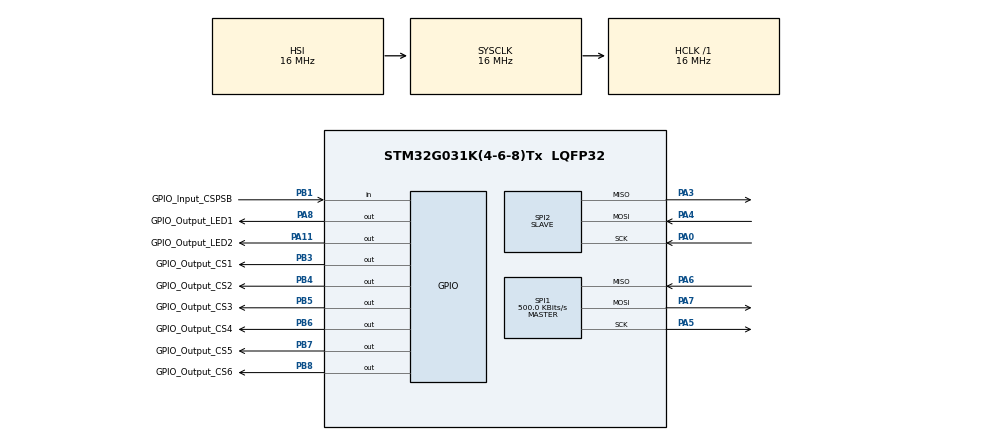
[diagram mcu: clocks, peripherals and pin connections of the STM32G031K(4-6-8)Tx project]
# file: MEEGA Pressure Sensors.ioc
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Mcu.Family=STM32G0
Mcu.Name=STM32G031K(4-6-8)Tx
Mcu.Package=LQFP32
PA0.Mode=Full_Duplex_Slave
PA0.Signal=SPI2_SCK
PA11\ [PA9].GPIO_Label=GPIO_Output_LED2
PA11\ [PA9].Signal=GPIO_Output
PA13.Mode=Serial_Wire
PA13.Signal=SYS_SWDIO
PA14-BOOT0.Mode=Serial_Wire
PA14-BOOT0.Signal=SYS_SWCLK
PA3.Mode=Full_Duplex_Slave
PA3.Signal=SPI2_MISO
PA4.Mode=Full_Duplex_Slave
PA4.Signal=SPI2_MOSI
PA5.Mode=Full_Duplex_Master
PA5.Signal=SPI1_SCK
PA6.Mode=Full_Duplex_Master
PA6.Signal=SPI1_MISO
PA7.Mode=Full_Duplex_Master
PA7.Signal=SPI1_MOSI
PA8.GPIO_Label=GPIO_Output_LED1
PA8.Signal=GPIO_Output
PB1.GPIO_Label=GPIO_Input_CSPSB
PB1.GPIO_PuPd=GPIO_PULLUP
PB1.Signal=GPIO_Input
PB3.GPIO_Label=GPIO_Output_CS1
PB3.GPIO_PuPd=GPIO_PULLUP
PB3.Signal=GPIO_Output
PB4.GPIO_Label=GPIO_Output_CS2
PB4.GPIO_PuPd=GPIO_PULLUP
PB4.Signal=GPIO_Output
PB5.GPIO_Label=GPIO_Output_CS3
PB5.GPIO_PuPd=GPIO_PULLUP
PB5.Signal=GPIO_Output
PB6.GPIO_Label=GPIO_Output_CS4
PB6.GPIO_PuPd=GPIO_PULLUP
PB6.Signal=GPIO_Output
PB7.GPIO_Label=GPIO_Output_CS5
PB7.GPIO_PuPd=GPIO_PULLUP
PB7.Signal=GPIO_Output
PB8.GPIO_Label=GPIO_Output_CS6
PB8.GPIO_PuPd=GPIO_PULLUP
PB8.Signal=GPIO_Output
ProjectManager.HeapSize=0x200
ProjectManager.StackSize=0x400
ProjectManager.TargetToolchain=STM32CubeIDE
RCC.AHBFreq_Value=16000000
RCC.CortexFreq_Value=16000000
RCC.EXTERNAL_CLOCK_VALUE=12288000
RCC.HCLKFreq_Value=16000000
RCC.HSE_VALUE=8000000
RCC.HSI_VALUE=16000000
RCC.LSE_VALUE=32768
RCC.SYSCLKFreq_VALUE=16000000
RCC.VCOOutputFreq_Value=128000000
SPI1.BaudRatePrescaler=SPI_BAUDRATEPRESCALER_32
SPI1.CalculateBaudRate=500.0 KBits/s
SPI1.Direction=SPI_DIRECTION_2LINES
SPI1.Mode=SPI_MODE_MASTER
SPI1.VirtualType=VM_MASTER
SPI2.Direction=SPI_DIRECTION_2LINES
SPI2.Mode=SPI_MODE_SLAVE
SPI2.VirtualType=VM_SLAVE
board=custom

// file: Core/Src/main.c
/* USER CODE BEGIN Header */
/**
  ******************************************************************************
  * @file           : main.c
  * @brief          : Main program body for Pressure Sensors
  ******************************************************************************
  * @attention
  *
  * Copyright (c) 2025 STMicroelectronics.
  * All rights reserved.
  *
  * This software is licensed under terms that can be found in the LICENSE file
  * in the root directory of this software component.
  * If no LICENSE file comes with this software, it is provided AS-IS.
  *
  ******************************************************************************
  */
/* USER CODE END Header */
#include "main.h"

/* USER CODE BEGIN Includes */
#include <stm32g0xx_hal.h>
#include <stdint.h>
#include <string.h>
/* USER CODE END Includes */

SPI_HandleTypeDef hspi1;
SPI_HandleTypeDef hspi2;

/* USER CODE BEGIN PV */
#define LEDs_PORT GPIOA
#define LED1 GPIO_PIN_11
#define LED2 GPIO_PIN_8

#define CS_RPi_PORT GPIOB
#define CS_RPi_PIN GPIO_PIN_1

#define CS_SENSORS_PORT GPIOB
#define CS_TPR_PIN GPIO_PIN_8
#define CS_PT_PIN GPIO_PIN_7
#define CS_P0_PIN GPIO_PIN_6
#define CS_P1_PIN GPIO_PIN_5
#define CS_P2_PIN GPIO_PIN_4
#define CS_P3_PIN GPIO_PIN_3

//Honeywell MPR SPI Sensor
#define TIMEOUT_SPI 20 //in ms Timeout check busy bit: Normal 5ms --Should not block the 20Hz RPi rate

//CMD from RPi to read sensors data
#define CMD_READ 0xA1
#define CMD_SYNC 0xFF
#define CMD_RESYNC 0x11

//Transfer length
#define TxPACKET_LENGTH 17 //bytes 2 bytes from 16bit, 3 bytes from 24bit ---- CHANGE if needed
/* USER CODE END PV */

void SystemClock_Config(void);
static void MX_GPIO_Init(void);
static void MX_SPI1_Init(void);
static void MX_SPI2_Init(void);
/* USER CODE BEGIN PFP */
uint16_t Sensors16bits(uint8_t high,uint8_t low) {
	return (high << 8) | low;
}

uint32_t Sensors24bits(uint8_t high, uint8_t middle, uint8_t low) {
	return ((uint32_t)high << 16) | ((uint32_t)middle << 8) | low;
}

static uint8_t rxBuf16[2];
//static uint8_t rxBuf24[4];

static uint8_t txPacket[TxPACKET_LENGTH];
static uint8_t txLatest[TxPACKET_LENGTH];
static uint8_t rxCMD[TxPACKET_LENGTH];
/* USER CODE END PFP */

/* USER CODE BEGIN 0 */
int SPI_COM_SetUp(uint16_t CS_PIN, uint8_t SensorData[3]) {
	uint32_t comStart = HAL_GetTick();

	//Step 1 Tab. 18 SPI COMMUNICATION
	uint8_t txCMDStart[3] = {0xAA, 0x00, 0x00};
	uint8_t rxCMDStart[3];
	HAL_GPIO_WritePin(CS_SENSORS_PORT, CS_PIN, GPIO_PIN_RESET);
	HAL_SPI_TransmitReceive(&hspi1, txCMDStart, rxCMDStart, 3, HAL_MAX_DELAY);
	HAL_GPIO_WritePin(CS_SENSORS_PORT, CS_PIN, GPIO_PIN_SET);

	//Step 2 Tab. 18 SPI COMM Option 1
	uint8_t txStatus = 0xF0;
	uint8_t rxStatus;
	while ((HAL_GetTick() - comStart) < TIMEOUT_SPI) {
		HAL_GPIO_WritePin(CS_SENSORS_PORT, CS_PIN, GPIO_PIN_RESET);
		HAL_SPI_TransmitReceive(&hspi1, &txStatus, &rxStatus, 1, HAL_MAX_DELAY);
		HAL_GPIO_WritePin(CS_SENSORS_PORT, CS_PIN, GPIO_PIN_SET);

		if(!(rxStatus & 0x20)) break; //bit 5 0b0010 0000 busy flag, continue if not busy
	}
	/*
	//Step 2 Tab. 18 SPI COMM Option 2
	HAL_Delay(5);
	 */

	//Step 3 Tab. 18 SPI COMM
	uint8_t txData[4] = {0xF0, 0x00, 0x00, 0x00};
	uint8_t rxData[4];
	HAL_GPIO_WritePin(CS_SENSORS_PORT, CS_PIN, GPIO_PIN_RESET);
	HAL_SPI_TransmitReceive(&hspi1, txData, rxData, 4, HAL_MAX_DELAY);
	HAL_GPIO_WritePin(CS_SENSORS_PORT, CS_PIN, GPIO_PIN_SET);

	SensorData[0] = rxData[1];
	SensorData[1] = rxData[2];
	SensorData[2] = rxData[3];

	if ((SensorData[0] == 0x00 && SensorData[1] == 0x00 && SensorData[2] == 0x00) ||
		(SensorData[0] == 0xFF && SensorData[1] == 0xFF && SensorData[2] == 0xFF)) {
		return -1;
	}

	return 0; //Total 4 sensors ~20ms
}

void createtxPacket(void) {
	uint16_t TPR280_Ambient, PT5494_Analog;
	uint8_t SensorValue[3];
	uint8_t SensorError = 0; //Error flag

	//CS1 12bit - TPR ADC Ambient 16bit
	HAL_GPIO_WritePin(CS_SENSORS_PORT, CS_TPR_PIN, GPIO_PIN_RESET);	//CS LOW to start communication
	HAL_SPI_Receive(&hspi1, rxBuf16, 2, HAL_MAX_DELAY);	//read data
	HAL_GPIO_WritePin(CS_SENSORS_PORT, CS_TPR_PIN, GPIO_PIN_SET);		//CS HIGH to end communication
	TPR280_Ambient = Sensors16bits(rxBuf16[0], rxBuf16[1]); //RAW Output
	if (TPR280_Ambient == 0 || TPR280_Ambient == 0xFFFF) SensorError = 1;

	//CS2 12bit - PT5494 ADC Hyd Acc Pressure Transmitter -14,5 until 145 psi
	HAL_GPIO_WritePin(CS_SENSORS_PORT, CS_PT_PIN, GPIO_PIN_RESET);
	HAL_SPI_Receive(&hspi1, rxBuf16, 2, HAL_MAX_DELAY);
	HAL_GPIO_WritePin(CS_SENSORS_PORT, CS_PT_PIN, GPIO_PIN_SET);
	PT5494_Analog = Sensors16bits(rxBuf16[0], rxBuf16[1]); //RAW Output
	if (PT5494_Analog == 0 || PT5494_Analog == 0xFFFF) SensorError = 1;

	//Packing
	//TPR280 ADC 16bit
	txPacket[0] = (TPR280_Ambient >> 8);
	txPacket[1] = (TPR280_Ambient & 0xFF);
	//PT6494 ADC 16bit
	txPacket[2] = (PT5494_Analog >> 8);
	txPacket[3] = (PT5494_Analog & 0xFF);
	//MPRLS P0 24bit
	if (SPI_COM_SetUp(CS_P0_PIN, SensorValue) == 0) {
		txPacket[4] = SensorValue[0];
		txPacket[5] = SensorValue[1];
		txPacket[6] = SensorValue[2];
	}
	else {
		txPacket[4] = txPacket[5] = txPacket[6] = 0;
		SensorError = 1;
	}
	//MPRLS P1 24bit
	if (SPI_COM_SetUp(CS_P1_PIN, SensorValue) == 0) {
		txPacket[7] = SensorValue[0];
		txPacket[8] = SensorValue[1];
		txPacket[9] = SensorValue[2];
	}
	else {
		txPacket[7] = txPacket[8] = txPacket[9] = 0;
		SensorError = 1;
	}
	//MPRLS P2 24bit
	if (SPI_COM_SetUp(CS_P2_PIN, SensorValue) == 0) {
		txPacket[10] = SensorValue[0];
		txPacket[11] = SensorValue[1];
		txPacket[12] = SensorValue[2];
	}
	else {
		txPacket[10] = txPacket[11] = txPacket[12] = 0;
		SensorError = 1;
	}
	//MPRLS P3 24bit
	if (SPI_COM_SetUp(CS_P3_PIN, SensorValue) == 0) {
		txPacket[13] = SensorValue[0];
		txPacket[14] = SensorValue[1];
		txPacket[15] = SensorValue[2];
	}
	else {
		txPacket[13] = txPacket[14] = txPacket[15] = 0;
		SensorError = 1;
	}

	/*
	TEST FOR DEBUG
	if (SPI_COM_SetUp(CS_P0_PIN, SensorValue) != 0) {
		HAL_GPIO_WritePin(LEDs_PORT, LED1, GPIO_PIN_RESET);
		SensorError = 1;
	}
	 */

	if (SensorError == 0) {
		txPacket[16] = 1;
		HAL_GPIO_WritePin(LEDs_PORT, LED1, GPIO_PIN_SET);
	}
	else {
		txPacket[16] = 3;
		HAL_GPIO_WritePin(LEDs_PORT, LED1, GPIO_PIN_RESET);
	}
	/*
	//SPI Sensors
	uint32_t P0_SPI, P1_SPI, P2_SPI, P3_SPI;
	//CS3 24bit - MPRLS Pressure Sensor SPI 0 - 25 psi
	HAL_GPIO_WritePin(CS_SENSORS_PORT, CS_P0_PIN, GPIO_PIN_RESET);
	HAL_SPI_Receive(&hspi1, rxBuf24, 3, HAL_MAX_DELAY);
	HAL_GPIO_WritePin(CS_SENSORS_PORT, CS_P0_PIN, GPIO_PIN_SET);
	P0_SPI = Sensors24bits(rxBuf24[1], rxBuf24[2], rxBuf24[3]); //RAW Output

	//CS4 24bit - MPRLS Pressure Sensor SPI 0 - 25 psi
	HAL_GPIO_WritePin(CS_SENSORS_PORT, CS_P1_PIN, GPIO_PIN_RESET);
	HAL_SPI_Receive(&hspi1, rxBuf24, 3, HAL_MAX_DELAY);
	HAL_GPIO_WritePin(CS_SENSORS_PORT, CS_P1_PIN, GPIO_PIN_SET);
	P1_SPI = Sensors24bits(rxBuf24[1], rxBuf24[2], rxBuf24[3]); //RAW Output

	//CS5 24bit - MPRLS Pressure Sensor SPI 0 - 25 psi
	HAL_GPIO_WritePin(CS_SENSORS_PORT, CS_P2_PIN, GPIO_PIN_RESET);
	HAL_SPI_Receive(&hspi1, rxBuf24, 3, HAL_MAX_DELAY);
	HAL_GPIO_WritePin(CS_SENSORS_PORT, CS_P2_PIN, GPIO_PIN_SET);
	P2_SPI = Sensors24bits(rxBuf24[1], rxBuf24[2], rxBuf24[3]); //RAW Output

	//CS6 24bit - MPRLS Pressure Sensor SPI 0 - 25 psi
	HAL_GPIO_WritePin(CS_SENSORS_PORT, CS_P3_PIN, GPIO_PIN_RESET);
	HAL_SPI_Receive(&hspi1, rxBuf24, 3, HAL_MAX_DELAY);
	HAL_GPIO_WritePin(CS_SENSORS_PORT, CS_P3_PIN, GPIO_PIN_SET);
	P3_SPI = Sensors24bits(rxBuf24[1], rxBuf24[2], rxBuf24[3]); //RAW Output

	//MPRLS P0 24bit
	txPacket[4] = ((P0_SPI >> 16) & 0xFF);
	txPacket[5] = ((P0_SPI >> 8) & 0xFF);
	txPacket[6] = (P0_SPI & 0xFF);
	//MPRLS P1 24bit
	txPacket[7] = ((P1_SPI >> 16) & 0xFF);
	txPacket[8] = ((P1_SPI >> 8) & 0xFF);
	txPacket[9] = (P1_SPI & 0xFF);
	//MPRLS P2 24bit
	txPacket[10] = ((P2_SPI >> 16) & 0xFF);
	txPacket[11] = ((P2_SPI >> 8) & 0xFF);
	txPacket[12] = (P2_SPI & 0xFF);
	//MPRLS P3 24bit
	txPacket[13] = ((P3_SPI >> 16) & 0xFF);
	txPacket[14] = ((P3_SPI >> 8) & 0xFF);
	txPacket[15] = (P3_SPI & 0xFF);
	*/
}
/* USER CODE END 0 */

int main(void)
{

  /* MCU Configuration--------------------------------------------------------*/

  /* Reset of all peripherals, Initializes the Flash interface and the Systick. */
  HAL_Init();

  /* Configure the system clock */
  SystemClock_Config();

  /* Initialize all configured peripherals */
  MX_GPIO_Init();
  MX_SPI1_Init();
  MX_SPI2_Init();
  /* USER CODE BEGIN 2 */
  HAL_GPIO_WritePin(CS_SENSORS_PORT, CS_TPR_PIN | CS_PT_PIN | CS_P0_PIN | CS_P1_PIN | CS_P2_PIN | CS_P3_PIN, GPIO_PIN_SET);
  //Initialize transmit arrays with 0
  for (int i = 0; i < TxPACKET_LENGTH; i++){
	  rxCMD[i] = 0;
	  txPacket[i] = 0;
	  txLatest[i] = 0;
  }
  HAL_Delay(15000);

  //uint32_t last_UpdateTime = 0;
  //const uint32_t RefreshData_Timeout = 50; //refresh every 20 ms -CHANGEABLE-
  /* USER CODE END 2 */

  /* Infinite loop */
  /* USER CODE BEGIN WHILE */
  while (1)
  {
	  //unsigned char rxMSG = 0, txMSG = CMD_SYNC;
	  //HAL_SPI_Receive(&hspi2, &rxMSG, 1, HAL_MAX_DELAY);
	  //if (rxMSG != CMD_SYNC) continue;
	  //HAL_SPI_Transmit(&hspi2, &txMSG, 1, HAL_MAX_DELAY);
	  //while(1){

	  HAL_GPIO_TogglePin(LEDs_PORT, LED2);
	  createtxPacket();
	  //HAL_Delay(20); //wait 20ms to make LED visibly blink
	  HAL_GPIO_TogglePin(LEDs_PORT, LED2);
	  memcpy(txLatest, txPacket, TxPACKET_LENGTH); //stable data buffer ready to be transmitted

	  HAL_SPI_Transmit(&hspi2, txLatest, TxPACKET_LENGTH, 2000); //HAL_MAX_DELAY
	  //int i = 0; i < TxPACKET_LENGTH; i++) if (rxCMD[i] == CMD_RESYNC) break;
	  //}
    /* USER CODE END WHILE */

  }
}

void SystemClock_Config(void)
{
  RCC_OscInitTypeDef RCC_OscInitStruct = {0};
  RCC_ClkInitTypeDef RCC_ClkInitStruct = {0};

  /** Configure the main internal regulator output voltage
  */
  HAL_PWREx_ControlVoltageScaling(PWR_REGULATOR_VOLTAGE_SCALE1);

  /** Initializes the RCC Oscillators according to the specified parameters
  * in the RCC_OscInitTypeDef structure.
  */
  RCC_OscInitStruct.OscillatorType = RCC_OSCILLATORTYPE_HSI;
  RCC_OscInitStruct.HSIState = RCC_HSI_ON;
  RCC_OscInitStruct.HSIDiv = RCC_HSI_DIV1;
  RCC_OscInitStruct.HSICalibrationValue = RCC_HSICALIBRATION_DEFAULT;
  RCC_OscInitStruct.PLL.PLLState = RCC_PLL_NONE;
  if (HAL_RCC_OscConfig(&RCC_OscInitStruct) != HAL_OK)
  {
    Error_Handler();
  }

  /** Initializes the CPU, AHB and APB buses clocks
  */
  RCC_ClkInitStruct.ClockType = RCC_CLOCKTYPE_HCLK|RCC_CLOCKTYPE_SYSCLK
                              |RCC_CLOCKTYPE_PCLK1;
  RCC_ClkInitStruct.SYSCLKSource = RCC_SYSCLKSOURCE_HSI;
  RCC_ClkInitStruct.AHBCLKDivider = RCC_SYSCLK_DIV1;
  RCC_ClkInitStruct.APB1CLKDivider = RCC_HCLK_DIV1;

  if (HAL_RCC_ClockConfig(&RCC_ClkInitStruct, FLASH_LATENCY_0) != HAL_OK)
  {
    Error_Handler();
  }
}

static void MX_SPI1_Init(void)
{

  /* SPI1 parameter configuration*/
  hspi1.Instance = SPI1;
  hspi1.Init.Mode = SPI_MODE_MASTER;
  hspi1.Init.Direction = SPI_DIRECTION_2LINES;
  hspi1.Init.DataSize = SPI_DATASIZE_8BIT;
  hspi1.Init.CLKPolarity = SPI_POLARITY_LOW;
  hspi1.Init.CLKPhase = SPI_PHASE_1EDGE;
  hspi1.Init.NSS = SPI_NSS_SOFT;
  hspi1.Init.BaudRatePrescaler = SPI_BAUDRATEPRESCALER_32;
  hspi1.Init.FirstBit = SPI_FIRSTBIT_MSB;
  hspi1.Init.TIMode = SPI_TIMODE_DISABLE;
  hspi1.Init.CRCCalculation = SPI_CRCCALCULATION_DISABLE;
  hspi1.Init.CRCPolynomial = 7;
  hspi1.Init.CRCLength = SPI_CRC_LENGTH_DATASIZE;
  hspi1.Init.NSSPMode = SPI_NSS_PULSE_ENABLE;
  if (HAL_SPI_Init(&hspi1) != HAL_OK)
  {
    Error_Handler();
  }

}

static void MX_SPI2_Init(void)
{

  /* SPI2 parameter configuration*/
  hspi2.Instance = SPI2;
  hspi2.Init.Mode = SPI_MODE_SLAVE;
  hspi2.Init.Direction = SPI_DIRECTION_2LINES;
  hspi2.Init.DataSize = SPI_DATASIZE_8BIT;
  hspi2.Init.CLKPolarity = SPI_POLARITY_LOW;
  hspi2.Init.CLKPhase = SPI_PHASE_1EDGE;
  hspi2.Init.NSS = SPI_NSS_SOFT;
  hspi2.Init.FirstBit = SPI_FIRSTBIT_MSB;
  hspi2.Init.TIMode = SPI_TIMODE_DISABLE;
  hspi2.Init.CRCCalculation = SPI_CRCCALCULATION_DISABLE;
  hspi2.Init.CRCPolynomial = 7;
  hspi2.Init.CRCLength = SPI_CRC_LENGTH_DATASIZE;
  hspi2.Init.NSSPMode = SPI_NSS_PULSE_DISABLE;
  if (HAL_SPI_Init(&hspi2) != HAL_OK)
  {
    Error_Handler();
  }

}

static void MX_GPIO_Init(void)
{
  GPIO_InitTypeDef GPIO_InitStruct = {0};

  /* GPIO Ports Clock Enable */
  __HAL_RCC_GPIOA_CLK_ENABLE();
  __HAL_RCC_GPIOB_CLK_ENABLE();

  /*Configure GPIO pin Output Level */
  HAL_GPIO_WritePin(GPIOA, GPIO_Output_LED1_Pin|GPIO_Output_LED2_Pin, GPIO_PIN_RESET);

  /*Configure GPIO pin Output Level */
  HAL_GPIO_WritePin(GPIOB, GPIO_Output_CS1_Pin|GPIO_Output_CS2_Pin|GPIO_Output_CS3_Pin|GPIO_Output_CS4_Pin
                          |GPIO_Output_CS5_Pin|GPIO_Output_CS6_Pin, GPIO_PIN_RESET);

  /*Configure GPIO pin : GPIO_Input_CSPSB_Pin */
  GPIO_InitStruct.Pin = GPIO_Input_CSPSB_Pin;
  GPIO_InitStruct.Mode = GPIO_MODE_INPUT;
  GPIO_InitStruct.Pull = GPIO_PULLUP;
  HAL_GPIO_Init(GPIO_Input_CSPSB_GPIO_Port, &GPIO_InitStruct);

  /*Configure GPIO pins : GPIO_Output_LED1_Pin GPIO_Output_LED2_Pin */
  GPIO_InitStruct.Pin = GPIO_Output_LED1_Pin|GPIO_Output_LED2_Pin;
  GPIO_InitStruct.Mode = GPIO_MODE_OUTPUT_PP;
  GPIO_InitStruct.Pull = GPIO_NOPULL;
  GPIO_InitStruct.Speed = GPIO_SPEED_FREQ_LOW;
  HAL_GPIO_Init(GPIOA, &GPIO_InitStruct);

  /*Configure GPIO pins : GPIO_Output_CS1_Pin GPIO_Output_CS2_Pin GPIO_Output_CS3_Pin GPIO_Output_CS4_Pin
                           GPIO_Output_CS5_Pin GPIO_Output_CS6_Pin */
  GPIO_InitStruct.Pin = GPIO_Output_CS1_Pin|GPIO_Output_CS2_Pin|GPIO_Output_CS3_Pin|GPIO_Output_CS4_Pin
                          |GPIO_Output_CS5_Pin|GPIO_Output_CS6_Pin;
  GPIO_InitStruct.Mode = GPIO_MODE_OUTPUT_PP;
  GPIO_InitStruct.Pull = GPIO_PULLUP;
  GPIO_InitStruct.Speed = GPIO_SPEED_FREQ_LOW;
  HAL_GPIO_Init(GPIOB, &GPIO_InitStruct);

}

void Error_Handler(void)
{
  __disable_irq();
  while (1)
  {
  }
}
